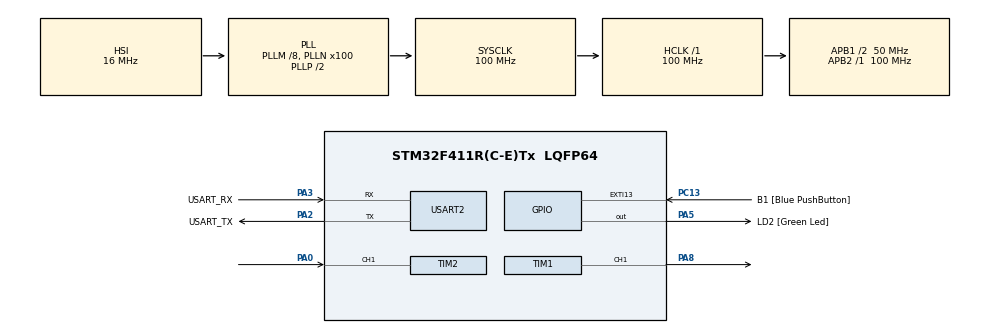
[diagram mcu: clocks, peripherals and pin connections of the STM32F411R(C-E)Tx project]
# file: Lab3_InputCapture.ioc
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Dma.Request0=TIM2_CH1
Dma.TIM2_CH1.0.Direction=DMA_PERIPH_TO_MEMORY
Dma.TIM2_CH1.0.FIFOMode=DMA_FIFOMODE_DISABLE
Dma.TIM2_CH1.0.Instance=DMA1_Stream5
Dma.TIM2_CH1.0.MemDataAlignment=DMA_MDATAALIGN_WORD
Dma.TIM2_CH1.0.MemInc=DMA_MINC_ENABLE
Dma.TIM2_CH1.0.Mode=DMA_CIRCULAR
Dma.TIM2_CH1.0.PeriphDataAlignment=DMA_PDATAALIGN_WORD
Dma.TIM2_CH1.0.PeriphInc=DMA_PINC_DISABLE
Dma.TIM2_CH1.0.Priority=DMA_PRIORITY_LOW
Mcu.Family=STM32F4
Mcu.Name=STM32F411R(C-E)Tx
Mcu.Package=LQFP64
NVIC.DMA1_Stream5_IRQn=true\:0\:0\:false\:false\:true\:false\:true\:true
NVIC.PriorityGroup=NVIC_PRIORITYGROUP_0
PA0-WKUP.Signal=S_TIM2_CH1_ETR
PA13.GPIO_Label=TMS
PA13.Mode=Serial_Wire
PA13.Signal=SYS_JTMS-SWDIO
PA14.GPIO_Label=TCK
PA14.Mode=Serial_Wire
PA14.Signal=SYS_JTCK-SWCLK
PA2.GPIO_Label=USART_TX
PA2.Mode=Asynchronous
PA2.Signal=USART2_TX
PA3.GPIO_Label=USART_RX
PA3.Mode=Asynchronous
PA3.Signal=USART2_RX
PA5.GPIO_Label=LD2 [Green Led]
PA5.Signal=GPIO_Output
PA8.Signal=S_TIM1_CH1
PB3.GPIO_Label=SWO
PB3.Signal=SYS_JTDO-SWO
PC13-ANTI_TAMP.GPIO_Label=B1 [Blue PushButton]
PC13-ANTI_TAMP.GPIO_ModeDefaultEXTI=GPIO_MODE_IT_FALLING
PC13-ANTI_TAMP.Signal=GPXTI13
PC14-OSC32_IN.Mode=LSE-External-Oscillator
PC14-OSC32_IN.Signal=RCC_OSC32_IN
PC15-OSC32_OUT.Mode=LSE-External-Oscillator
PC15-OSC32_OUT.Signal=RCC_OSC32_OUT
PH0\ -\ OSC_IN.Mode=HSE-External-Clock-Source
PH0\ -\ OSC_IN.Signal=RCC_OSC_IN
PH1\ -\ OSC_OUT.Mode=HSE-External-Clock-Source
PH1\ -\ OSC_OUT.Signal=RCC_OSC_OUT
ProjectManager.HeapSize=0x200
ProjectManager.StackSize=0x400
ProjectManager.TargetToolchain=STM32CubeIDE
RCC.48MHZClocksFreq_Value=50000000
RCC.AHBFreq_Value=100000000
RCC.APB1CLKDivider=RCC_HCLK_DIV2
RCC.APB1Freq_Value=50000000
RCC.APB1TimFreq_Value=100000000
RCC.APB2Freq_Value=100000000
RCC.APB2TimFreq_Value=100000000
RCC.CortexFreq_Value=100000000
RCC.FLatency-AdvancedSettings=FLASH_LATENCY_3
RCC.HCLKFreq_Value=100000000
RCC.HSE_VALUE=8000000
RCC.HSI_VALUE=16000000
RCC.PLLM=8
RCC.PLLN=100
RCC.SYSCLKFreq_VALUE=100000000
RCC.SYSCLKSource=RCC_SYSCLKSOURCE_PLLCLK
RCC.VCOOutputFreq_Value=200000000
SH.S_TIM1_CH1.0=TIM1_CH1,PWM Generation1 CH1
SH.S_TIM2_CH1_ETR.0=TIM2_CH1,Input_Capture1_from_TI1
TIM1.Channel-PWM\ Generation1\ CH1=TIM_CHANNEL_1
TIM1.Period=100
TIM1.Prescaler=(100000000/500000)-1
TIM1.Pulse-PWM\ Generation1\ CH1=50
TIM2.Channel-Input_Capture1_from_TI1=TIM_CHANNEL_1
TIM2.ICFilter_CH1=6
TIM2.ICPolarity_CH1=TIM_INPUTCHANNELPOLARITY_RISING
TIM2.Prescaler=83
USART2.VirtualMode=VM_ASYNC
VP_TIM1_VS_ClockSourceINT.Mode=Internal
VP_TIM2_VS_ClockSourceINT.Mode=Internal
board=NUCLEO-F411RE

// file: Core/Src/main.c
/* USER CODE BEGIN Header */
/**
  ******************************************************************************
  * @file           : main.c
  * @brief          : Main program body
  ******************************************************************************
  * @attention
  *
  * Copyright (c) 2023 STMicroelectronics.
  * All rights reserved.
  *
  * This software is licensed under terms that can be found in the LICENSE file
  * in the root directory of this software component.
  * If no LICENSE file comes with this software, it is provided AS-IS.
  *
  ******************************************************************************
  */
/* USER CODE END Header */
#include "main.h"

/* USER CODE BEGIN Includes */
#define IC_BUFFER_SIZE 20
/* USER CODE END Includes */

/* USER CODE BEGIN PTD */
void VelocityRPM();
void ControlRPM();
/* USER CODE END PTD */

TIM_HandleTypeDef htim1;
TIM_HandleTypeDef htim2;
DMA_HandleTypeDef hdma_tim2_ch1;

UART_HandleTypeDef huart2;

/* USER CODE BEGIN PV */

uint32_t InputCaptureBuffer[IC_BUFFER_SIZE];
float averageRisingedgePeriod;
int MotorSetDuty = 50;
float MotorRound = 0;
float MotorSetRPM = 0;
float MotorReadRPM = 0;
int MotorControlEnable = 0;
float error = 0;

/* USER CODE END PV */

void SystemClock_Config(void);
static void MX_GPIO_Init(void);
static void MX_DMA_Init(void);
static void MX_USART2_UART_Init(void);
static void MX_TIM1_Init(void);
static void MX_TIM2_Init(void);
/* USER CODE BEGIN PFP */
float IC_Calc_Period();
/* USER CODE END PFP */

int main(void)
{

  /* MCU Configuration--------------------------------------------------------*/

  /* Reset of all peripherals, Initializes the Flash interface and the Systick. */
  HAL_Init();

  /* Configure the system clock */
  SystemClock_Config();

  /* Initialize all configured peripherals */
  MX_GPIO_Init();
  MX_DMA_Init();
  MX_USART2_UART_Init();
  MX_TIM1_Init();
  MX_TIM2_Init();
  /* USER CODE BEGIN 2 */
  HAL_TIM_Base_Start(&htim2);
  HAL_TIM_IC_Start_DMA(&htim2,TIM_CHANNEL_1, InputCaptureBuffer, IC_BUFFER_SIZE);

  HAL_TIM_Base_Start(&htim1);
  HAL_TIM_PWM_Start(&htim1, TIM_CHANNEL_1);
  /* USER CODE END 2 */

  /* Infinite loop */
  while (1)
  {

    /* USER CODE BEGIN 3 */
	  static uint32_t timestamp = 0;
	  if(HAL_GetTick() >= timestamp)
	  {
		  timestamp = HAL_GetTick() + 50;
		  averageRisingedgePeriod = IC_Calc_Period();
		  VelocityRPM();
		  __HAL_TIM_SET_COMPARE(&htim1, TIM_CHANNEL_1,MotorSetDuty);

		  if(MotorControlEnable == 1)
		  {
			  VelocityRPM();
			  ControlRPM();
		  }
		  else if(MotorControlEnable == 0)
		  {
			  error = 0;
			  MotorSetRPM = 0;
			  VelocityRPM();
		  }
	  }

  }
  /* USER CODE END 3 */
}

void SystemClock_Config(void)
{
  RCC_OscInitTypeDef RCC_OscInitStruct = {0};
  RCC_ClkInitTypeDef RCC_ClkInitStruct = {0};

  /** Configure the main internal regulator output voltage
  */
  __HAL_RCC_PWR_CLK_ENABLE();
  __HAL_PWR_VOLTAGESCALING_CONFIG(PWR_REGULATOR_VOLTAGE_SCALE1);

  /** Initializes the RCC Oscillators according to the specified parameters
  * in the RCC_OscInitTypeDef structure.
  */
  RCC_OscInitStruct.OscillatorType = RCC_OSCILLATORTYPE_HSI;
  RCC_OscInitStruct.HSIState = RCC_HSI_ON;
  RCC_OscInitStruct.HSICalibrationValue = RCC_HSICALIBRATION_DEFAULT;
  RCC_OscInitStruct.PLL.PLLState = RCC_PLL_ON;
  RCC_OscInitStruct.PLL.PLLSource = RCC_PLLSOURCE_HSI;
  RCC_OscInitStruct.PLL.PLLM = 8;
  RCC_OscInitStruct.PLL.PLLN = 100;
  RCC_OscInitStruct.PLL.PLLP = RCC_PLLP_DIV2;
  RCC_OscInitStruct.PLL.PLLQ = 4;
  if (HAL_RCC_OscConfig(&RCC_OscInitStruct) != HAL_OK)
  {
    Error_Handler();
  }

  /** Initializes the CPU, AHB and APB buses clocks
  */
  RCC_ClkInitStruct.ClockType = RCC_CLOCKTYPE_HCLK|RCC_CLOCKTYPE_SYSCLK
                              |RCC_CLOCKTYPE_PCLK1|RCC_CLOCKTYPE_PCLK2;
  RCC_ClkInitStruct.SYSCLKSource = RCC_SYSCLKSOURCE_PLLCLK;
  RCC_ClkInitStruct.AHBCLKDivider = RCC_SYSCLK_DIV1;
  RCC_ClkInitStruct.APB1CLKDivider = RCC_HCLK_DIV2;
  RCC_ClkInitStruct.APB2CLKDivider = RCC_HCLK_DIV1;

  if (HAL_RCC_ClockConfig(&RCC_ClkInitStruct, FLASH_LATENCY_3) != HAL_OK)
  {
    Error_Handler();
  }
}

static void MX_TIM1_Init(void)
{

  TIM_ClockConfigTypeDef sClockSourceConfig = {0};
  TIM_MasterConfigTypeDef sMasterConfig = {0};
  TIM_OC_InitTypeDef sConfigOC = {0};
  TIM_BreakDeadTimeConfigTypeDef sBreakDeadTimeConfig = {0};

  htim1.Instance = TIM1;
  htim1.Init.Prescaler = (100000000/500000)-1;
  htim1.Init.CounterMode = TIM_COUNTERMODE_UP;
  htim1.Init.Period = 100;
  htim1.Init.ClockDivision = TIM_CLOCKDIVISION_DIV1;
  htim1.Init.RepetitionCounter = 0;
  htim1.Init.AutoReloadPreload = TIM_AUTORELOAD_PRELOAD_DISABLE;
  if (HAL_TIM_Base_Init(&htim1) != HAL_OK)
  {
    Error_Handler();
  }
  sClockSourceConfig.ClockSource = TIM_CLOCKSOURCE_INTERNAL;
  if (HAL_TIM_ConfigClockSource(&htim1, &sClockSourceConfig) != HAL_OK)
  {
    Error_Handler();
  }
  if (HAL_TIM_PWM_Init(&htim1) != HAL_OK)
  {
    Error_Handler();
  }
  sMasterConfig.MasterOutputTrigger = TIM_TRGO_RESET;
  sMasterConfig.MasterSlaveMode = TIM_MASTERSLAVEMODE_DISABLE;
  if (HAL_TIMEx_MasterConfigSynchronization(&htim1, &sMasterConfig) != HAL_OK)
  {
    Error_Handler();
  }
  sConfigOC.OCMode = TIM_OCMODE_PWM1;
  sConfigOC.Pulse = 50;
  sConfigOC.OCPolarity = TIM_OCPOLARITY_HIGH;
  sConfigOC.OCNPolarity = TIM_OCNPOLARITY_HIGH;
  sConfigOC.OCFastMode = TIM_OCFAST_DISABLE;
  sConfigOC.OCIdleState = TIM_OCIDLESTATE_RESET;
  sConfigOC.OCNIdleState = TIM_OCNIDLESTATE_RESET;
  if (HAL_TIM_PWM_ConfigChannel(&htim1, &sConfigOC, TIM_CHANNEL_1) != HAL_OK)
  {
    Error_Handler();
  }
  sBreakDeadTimeConfig.OffStateRunMode = TIM_OSSR_DISABLE;
  sBreakDeadTimeConfig.OffStateIDLEMode = TIM_OSSI_DISABLE;
  sBreakDeadTimeConfig.LockLevel = TIM_LOCKLEVEL_OFF;
  sBreakDeadTimeConfig.DeadTime = 0;
  sBreakDeadTimeConfig.BreakState = TIM_BREAK_DISABLE;
  sBreakDeadTimeConfig.BreakPolarity = TIM_BREAKPOLARITY_HIGH;
  sBreakDeadTimeConfig.AutomaticOutput = TIM_AUTOMATICOUTPUT_DISABLE;
  if (HAL_TIMEx_ConfigBreakDeadTime(&htim1, &sBreakDeadTimeConfig) != HAL_OK)
  {
    Error_Handler();
  }
  HAL_TIM_MspPostInit(&htim1);

}

static void MX_TIM2_Init(void)
{

  TIM_ClockConfigTypeDef sClockSourceConfig = {0};
  TIM_MasterConfigTypeDef sMasterConfig = {0};
  TIM_IC_InitTypeDef sConfigIC = {0};

  htim2.Instance = TIM2;
  htim2.Init.Prescaler = 83;
  htim2.Init.CounterMode = TIM_COUNTERMODE_UP;
  htim2.Init.Period = 4294967295;
  htim2.Init.ClockDivision = TIM_CLOCKDIVISION_DIV1;
  htim2.Init.AutoReloadPreload = TIM_AUTORELOAD_PRELOAD_DISABLE;
  if (HAL_TIM_Base_Init(&htim2) != HAL_OK)
  {
    Error_Handler();
  }
  sClockSourceConfig.ClockSource = TIM_CLOCKSOURCE_INTERNAL;
  if (HAL_TIM_ConfigClockSource(&htim2, &sClockSourceConfig) != HAL_OK)
  {
    Error_Handler();
  }
  if (HAL_TIM_IC_Init(&htim2) != HAL_OK)
  {
    Error_Handler();
  }
  sMasterConfig.MasterOutputTrigger = TIM_TRGO_RESET;
  sMasterConfig.MasterSlaveMode = TIM_MASTERSLAVEMODE_DISABLE;
  if (HAL_TIMEx_MasterConfigSynchronization(&htim2, &sMasterConfig) != HAL_OK)
  {
    Error_Handler();
  }
  sConfigIC.ICPolarity = TIM_INPUTCHANNELPOLARITY_RISING;
  sConfigIC.ICSelection = TIM_ICSELECTION_DIRECTTI;
  sConfigIC.ICPrescaler = TIM_ICPSC_DIV1;
  sConfigIC.ICFilter = 6;
  if (HAL_TIM_IC_ConfigChannel(&htim2, &sConfigIC, TIM_CHANNEL_1) != HAL_OK)
  {
    Error_Handler();
  }

}

static void MX_USART2_UART_Init(void)
{

  huart2.Instance = USART2;
  huart2.Init.BaudRate = 115200;
  huart2.Init.WordLength = UART_WORDLENGTH_8B;
  huart2.Init.StopBits = UART_STOPBITS_1;
  huart2.Init.Parity = UART_PARITY_NONE;
  huart2.Init.Mode = UART_MODE_TX_RX;
  huart2.Init.HwFlowCtl = UART_HWCONTROL_NONE;
  huart2.Init.OverSampling = UART_OVERSAMPLING_16;
  if (HAL_UART_Init(&huart2) != HAL_OK)
  {
    Error_Handler();
  }

}

static void MX_DMA_Init(void)
{

  /* DMA controller clock enable */
  __HAL_RCC_DMA1_CLK_ENABLE();

  /* DMA interrupt init */
  /* DMA1_Stream5_IRQn interrupt configuration */
  HAL_NVIC_SetPriority(DMA1_Stream5_IRQn, 0, 0);
  HAL_NVIC_EnableIRQ(DMA1_Stream5_IRQn);

}

static void MX_GPIO_Init(void)
{
  GPIO_InitTypeDef GPIO_InitStruct = {0};

  /* GPIO Ports Clock Enable */
  __HAL_RCC_GPIOC_CLK_ENABLE();
  __HAL_RCC_GPIOH_CLK_ENABLE();
  __HAL_RCC_GPIOA_CLK_ENABLE();
  __HAL_RCC_GPIOB_CLK_ENABLE();

  /*Configure GPIO pin Output Level */
  HAL_GPIO_WritePin(LD2_GPIO_Port, LD2_Pin, GPIO_PIN_RESET);

  /*Configure GPIO pin : B1_Pin */
  GPIO_InitStruct.Pin = B1_Pin;
  GPIO_InitStruct.Mode = GPIO_MODE_IT_FALLING;
  GPIO_InitStruct.Pull = GPIO_NOPULL;
  HAL_GPIO_Init(B1_GPIO_Port, &GPIO_InitStruct);

  /*Configure GPIO pin : LD2_Pin */
  GPIO_InitStruct.Pin = LD2_Pin;
  GPIO_InitStruct.Mode = GPIO_MODE_OUTPUT_PP;
  GPIO_InitStruct.Pull = GPIO_NOPULL;
  GPIO_InitStruct.Speed = GPIO_SPEED_FREQ_LOW;
  HAL_GPIO_Init(LD2_GPIO_Port, &GPIO_InitStruct);

}

/* USER CODE BEGIN 4 */
float IC_Calc_Period()
{
	uint32_t currentDMAPointer = IC_BUFFER_SIZE - __HAL_DMA_GET_COUNTER((htim2.hdma[1]));

	uint32_t lastValidDMAPointer = (currentDMAPointer-1 + IC_BUFFER_SIZE) % IC_BUFFER_SIZE;

	uint32_t i = (lastValidDMAPointer + IC_BUFFER_SIZE - 5) % IC_BUFFER_SIZE;

	int32_t sumdiff = 0;
	while (i != lastValidDMAPointer)
	{
		uint32_t firstCapture = InputCaptureBuffer[i];

		uint32_t NextCapture = InputCaptureBuffer[(i+1) % IC_BUFFER_SIZE];

		sumdiff += NextCapture - firstCapture;

		i = (i+1) % IC_BUFFER_SIZE;
	}
	return sumdiff / 5.0;
}

void VelocityRPM()
{
	MotorRound = (averageRisingedgePeriod * 12) * 64;
	MotorReadRPM = 60/(MotorRound * 0.000001);
}

void ControlRPM()
{
	error = MotorSetRPM -MotorReadRPM;
	MotorSetDuty = (0.0255 * MotorSetRPM * MotorSetRPM * MotorSetRPM) - (0.7179 * MotorSetRPM * MotorSetRPM) + (6.9648 * MotorSetRPM) + 2.6048;
//	y = 0.0255x3 - 0.7179x2 + 6.9648x + 2.6048;
}
/* USER CODE END 4 */

void Error_Handler(void)
{
  __disable_irq();
  while (1)
  {
  }
}
